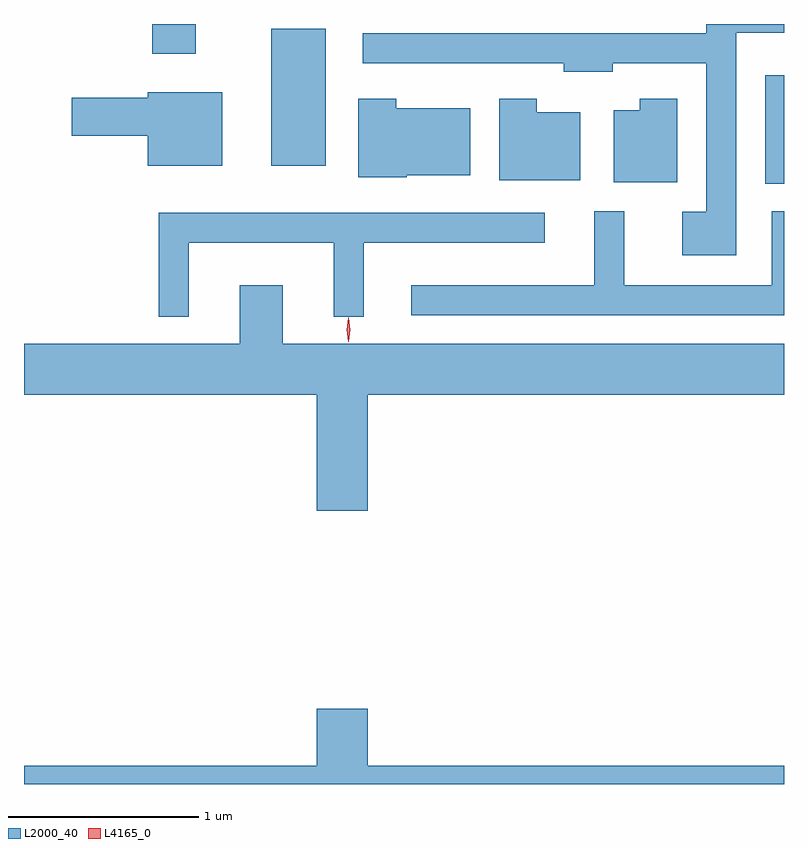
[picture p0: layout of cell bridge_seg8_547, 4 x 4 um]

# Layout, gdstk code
import gdstk
lib = gdstk.Library(unit=1e-6, precision=1e-09)
def R(c, l, rs):  # rectangles x0, y0, x1, y1
    for r in rs: c.add(gdstk.rectangle(r[:2], r[2:], *l))
def P(c, l, *ps):  # polygons
    for p in ps: c.add(gdstk.Polygon(p, *l))
L2000_40 = (2000, 40)
L4165_0 = (4165, 0)

bridge_seg8_547 = lib.new_cell('bridge_seg8_547')
R(bridge_seg8_547, L2000_40, [(457.196,1848.626,457.296,1849.199), (454.596,1848.721,454.884,1849.444), (453.971,1849.311,454.199,1849.468)])
P(bridge_seg8_547, L2000_40, [(457.044,1849.421),(457.296,1849.421),(457.296,1849.468),(456.886,1849.468),(456.886,1849.419),(455.078,1849.419),(455.078,1849.261),(456.136,1849.261),(456.136,1849.216),(456.394,1849.216),(456.394,1849.261),(456.886,1849.261),(456.886,1848.479),(456.761,1848.479),(456.761,1848.251),(457.044,1848.251)],
  [(454.339,1849.109),(453.946,1849.109),(453.946,1849.079),(453.546,1849.079),(453.546,1848.881),(453.946,1848.881),(453.946,1848.721),(454.339,1848.721)],
  [(455.31,1848.671),(455.644,1848.671),(455.644,1849.024),(455.254,1849.024),(455.254,1849.074),(455.056,1849.074),(455.056,1848.661),(455.31,1848.661)],
  [(456.734,1849.074),(456.536,1849.074),(456.536,1849.014),(456.401,1849.014),(456.401,1848.636),(456.734,1848.636)],
  [(456.224,1849.004),(455.994,1849.004),(455.994,1849.074),(455.796,1849.074),(455.796,1848.646),(456.224,1848.646)],
  [(457.296,1848.483),(457.231,1848.483),(457.231,1848.094),(456.454,1848.094),(456.454,1848.483),(456.296,1848.483),(456.296,1848.094),(455.333,1848.094),(455.333,1847.936),(457.296,1847.936)],
  [(454.164,1848.316),(454.926,1848.316),(454.926,1847.928),(455.084,1847.928),(455.084,1848.316),(456.038,1848.316),(456.038,1848.474),(454.006,1848.474),(454.006,1847.928),(454.164,1847.928)],
  [(455.104,1847.516),(457.296,1847.516),(457.296,1847.784),(454.659,1847.784),(454.659,1848.094),(454.431,1848.094),(454.431,1847.784),(453.296,1847.784),(453.296,1847.516),(454.836,1847.516),(454.836,1846.906),(455.104,1846.906)],
  [(457.296,1845.564),(455.104,1845.564),(455.104,1845.864),(454.836,1845.864),(454.836,1845.564),(453.296,1845.564),(453.296,1845.468),(457.296,1845.468)])
P(bridge_seg8_547, L4165_0, [(455.004,1847.795),(455.003,1847.796),(454.994,1847.858),(455.003,1847.921),(455.004,1847.922),(455.004,1847.921),(455.014,1847.858),(455.004,1847.796)])

lib.write_gds('bridge_seg8_547.gds')
